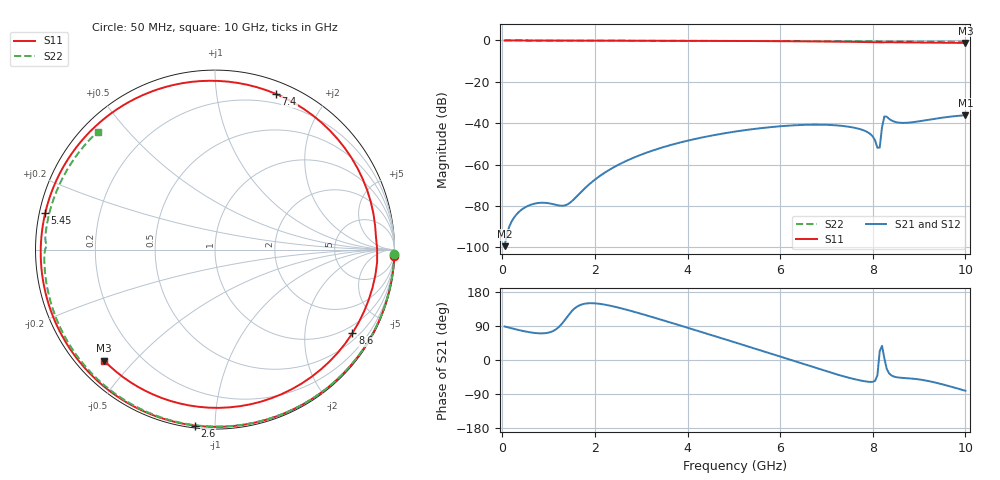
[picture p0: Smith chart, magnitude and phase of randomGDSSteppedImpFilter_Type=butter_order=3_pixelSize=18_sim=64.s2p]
! freq	dB(S11)	phase(S11)	dB(S12)	phase(S12)
!  dB(S21)	phase(S21)	dB(S22)	phase(S22)
!S-par simulation data
#  GHz  S  DB  R 50
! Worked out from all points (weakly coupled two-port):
!   200 points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, 50 MHz to 10 GHz, reference 50 ohm
!   highest |S21| = -36.13 dB at 10 GHz (marker M1); lowest = -99.4 dB at 50 MHz (marker M2)
!   lowest |S11| = -1.2 dB at 10 GHz (marker M3), VSWR 14.90, Z = 3.93 - j20.6 ohm
!   |S11| at or under -10 dB: nowhere
!   |S22| runs from -0.7 to 0.0 dB; largest |S21 - S12| = 0
!   S11 on the Smith chart (normalised r, x): 50 MHz: 0, -58; 2.6 GHz: 0.01, -0.89; 5.45 GHz: 0.02, +0.11; 7.4 GHz: 0.11, +1.46; 8.6 GHz: 0.73, -3.43; 10 GHz: 0.08, -0.41
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0.05  -0.00 -2.0  -99.39 88.5  -99.39 88.5  -0.00 -1.3
0.65  -0.03 -25.5  -79.12 72.1  -79.12 72.1  -0.02 -16.1
1.35  -0.06 -52.2  -79.71 105.6  -79.71 105.6  -0.04 -33.2
1.75  -0.08 -66.8  -72.13 147.7  -72.13 147.7  -0.05 -42.7
2.6  -0.12 -96.5  -59.02 135.4  -59.02 135.4  -0.08 -62.5
3.4  -0.15 -123.0  -52.08 107.5  -52.08 107.5  -0.11 -80.4
4.25  -0.19 -150.6  -47.17 75.8  -47.17 75.8  -0.14 -98.6
5.05  -0.25 -177.6  -43.95 45.5  -43.95 45.5  -0.18 -115.3
5.45  -0.29 167.9  -42.73 30.3  -42.73 30.3  -0.20 -123.5
6.1  -0.36 141.5  -41.29 5.2  -41.29 5.2  -0.24 -136.7
6.7  -0.45 112.2  -40.69 -18.2  -40.69 -18.2  -0.29 -149.0
7.4  -0.62 68.6  -41.44 -44.2  -41.44 -44.2  -0.35 -163.6
7.9  -0.78 29.8  -44.46 -57.4  -44.46 -57.4  -0.41 -174.4
8.1  -0.87 12.8  -51.81 -40.3  -51.81 -40.3  -0.45 -178.9
8.15  -0.90 8.5  -51.75 23.2  -51.75 23.2  -0.48 179.9
8.2  -0.92 4.4  -41.87 37.5  -41.87 37.5  -0.54 178.9
8.25  -0.88 0.2  -36.73 4.4  -36.73 4.4  -0.56 178.4
8.35  -0.87 -9.0  -37.82 -34.9  -37.82 -34.9  -0.47 176.2
8.6  -0.95 -31.3  -39.78 -46.8  -39.78 -46.8  -0.48 170.2
8.95  -1.03 -61.2  -39.23 -50.5  -39.23 -50.5  -0.52 161.9
9.25  -1.08 -84.9  -38.15 -56.7  -38.15 -56.7  -0.56 154.5
10  -1.17 -135.0  -36.13 -81.1  -36.13 -81.1  -0.66 134.8
